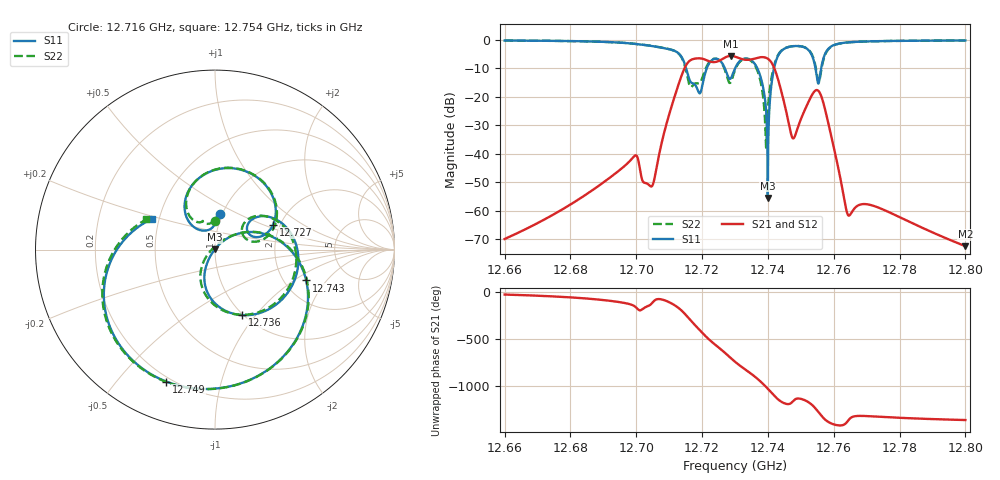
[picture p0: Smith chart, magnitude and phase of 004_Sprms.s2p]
! TOUCHSTONE file generated by CST MICROWAVE STUDIO
! Date and time: Wed Jul 31 10:46:52 2024
! Project name: WaveGuide_BPF-Ver4.1_U-shape_Ku_T3_C4_CWA_2.cst
! Parameters = {cavity_h=16; cavity_l0=10; cavity_l1=15.2085; cavity_l2=16.8552; cavity_l3=17.0799; cavity_l4=17.2599; cavity_l5=17.1325; cavity_l6=17.639; cavity_r=2.5; cavity_screw_l=0.5; cavity_screw_r=1.5; cavity_w=8; iris_h00=0; iris_h01=8.8243; iris_h112=0; iris_h12=5.6035; iris_h211=3.6643; i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
! Header version: 2018
! Port assignment regex: !\s*Touchstone port\s*([0-9]+)\s*=\s*(CST MWS port|CST DS port)\s*([0-9]+|Zmin|Zmax)\s*\(\"(.*)\"\)(\s*mode\s*([0-9]+))?.*
! Touchstone port assignment:
! Touchstone port 1 = CST MWS port 1 ("")
! Touchstone port 2 = CST MWS port 2 ("")
# GHz S RI R 50
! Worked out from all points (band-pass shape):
!   5001 points, 12.66 GHz to 12.8 GHz, reference 50 ohm
!   highest |S21| = -5.57 dB at 12.729 GHz (marker M1); lowest = -72.5 dB at 12.8 GHz (marker M2)
!   |S21| within 3 dB of the highest: 12.7153 GHz to 12.74141 GHz (26.11 MHz wide, 0.205 % of centre)
!   lowest |S11| = -55.5 dB at 12.74 GHz (marker M3), VSWR 1.00, Z = 49.8 + j0.0726 ohm
!   |S11| at or under -10 dB: 12.71516 GHz to 12.72141 GHz (6.249 MHz wide, 0.0491 % of centre); 12.72692 GHz to 12.73002 GHz (3.091 MHz wide, 0.0243 % of centre); 12.7368 GHz to 12.74185 GHz (5.045 MHz wide, 0.0396 % of centre) (the widest 3 of 4)
!   |S22| runs from -37.8 to -0.2 dB; largest |S21 - S12| = 1e-09
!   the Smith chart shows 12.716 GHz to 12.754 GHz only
!   S11 on the Smith chart (normalised r, x): 12.716 GHz: 0.97, +0.41; 12.727 GHz: 1.84, +0.58; 12.736 GHz: 0.99, -0.85; 12.743 GHz: 2.62, -1.27; 12.749 GHz: 0.18, -0.68; 12.754 GHz: 0.46, +0.19
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12.66  0.38 0.9021  0.000283 -0.000145  0.000283 -0.000145  0.3822 0.9012
12.68335  0.8145 0.4892  0.000716 -0.00155  0.000716 -0.00155  0.8157 0.4875
12.69738  0.8034 -0.3581  -0.00381 -0.00568  -0.00381 -0.00568  0.8065 -0.3547
12.70441  0.0741 -0.7856  -0.0018 -0.00198  -0.0018 -0.00198  0.0951 -0.7878
12.70668  -0.307 -0.6847  0.00207 -0.00787  0.00207 -0.00787  -0.2818 -0.701
12.713  -0.3614 0.4449  -0.1759 -0.0167  -0.1759 -0.0167  -0.3829 0.4175
12.71614  0.0281 0.2004  0.1277 0.4078  0.1277 0.4078  -0.00258 0.1621
12.72042  -0.1365 0.1437  0.0143 -0.4626  0.0143 -0.4626  -0.1478 0.1978
12.72325  0.0393 0.452  -0.4094 0.00527  -0.4094 0.00527  0.0678 0.4561
12.72656  0.3236 0.1384  0.0491 0.4747  0.0491 0.4747  0.3206 0.1084
12.72871  0.1779 0.115  0.5056 0.1484  0.5056 0.1484  0.1498 0.1023
12.73  0.2543 0.1856  0.4693 -0.1996  0.4693 -0.1996  0.2304 0.1874
12.7358  0.1507 -0.3653  -0.4669 -0.0412  -0.4669 -0.0412  0.1098 -0.3595
12.73997  -0.00151 0.000728  0.3054 0.3561  0.3054 0.3561  0.0353 0.0455
12.74313  0.508 -0.172  0.083 -0.1807  0.083 -0.1807  0.5167 -0.1952
12.74893  -0.271 -0.7356  0.0155 -0.0223  0.0155 -0.0223  -0.2794 -0.7343
12.75335  -0.5403 0.00936  -0.0556 -0.0914  -0.0556 -0.0914  -0.5588 0.000782
12.75414  -0.35 0.1714  -0.1064 -0.0656  -0.1064 -0.0656  -0.3823 0.1682
12.75691  0.3155 -0.3667  -0.00746 0.0759  -0.00746 0.0759  0.3234 -0.3226
12.76433  -0.6107 -0.6732  0.000313 0.00078  0.000313 0.00078  -0.6083 -0.6732
12.77668  -0.9411 -0.1957  -0.000252 0.000916  -0.000252 0.000916  -0.9418 -0.1918
12.8  -0.9372 0.2927  5.89e-05 0.000231  5.89e-05 0.000231  -0.936 0.2967
